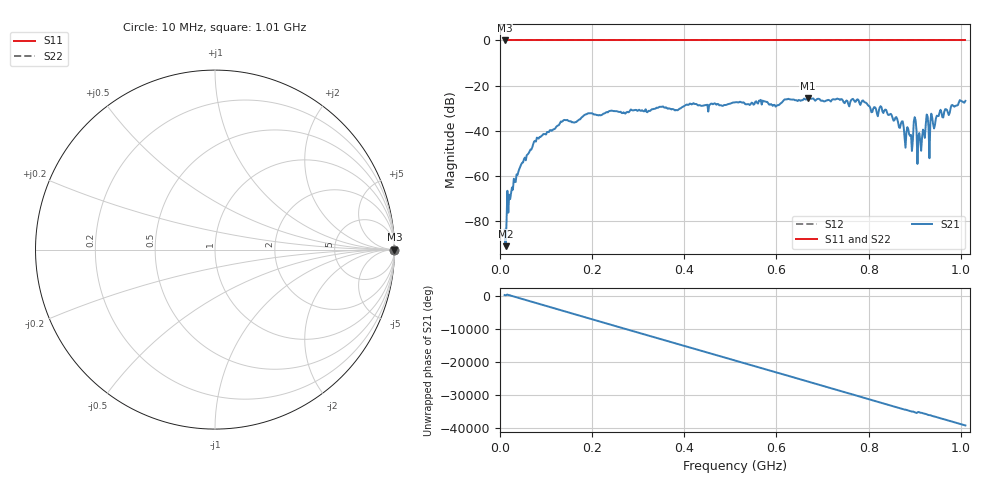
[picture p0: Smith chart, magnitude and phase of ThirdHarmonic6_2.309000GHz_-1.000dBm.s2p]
! 8/17/2025 3:11:40 AM
! C:\ANRITSUVNA\TEMP\TEMP.S2P
! CHANNEL.1
! TR.MEASUREMENT
! RAW.DATA
! RF.CORRECTION.OFF
! AVERAGING.OFF
! IF.BANDWIDTH: 5KHZ
! SWEEPTYPE:  FREQ.SWEEP(Linear)
! Reference Plane Port Info
! PORT:  PORT1  PORT2
! DISTANCE:  0  m  0  m
! TIME:  0  s  0  s
! PHASE.OFFSET:  0  deg.  0  deg.
! LOSS:  0  dB  0  dB
! REF.LOSS:  0  dB  0  dB
! REF.FREQ:  0  Hz  0  Hz
! Power Info
! POWER:  -20  dBm  -20  dBm
! EFF.POWER:  -20  dBm  -20  dBm
! SOURCE.ATTEN:  0  dB  0  dB
! TEST.ATTEN:  0  dB  0  dB
# GHZ S RI R 50.0
! FREQ.GHZ  S11RE  S11IM  S21RE  S21IM  S12RE  S12IM  S22RE  S22IM
!; PortSelection: Port_12
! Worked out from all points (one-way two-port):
!   501 points, 10 MHz to 1.01 GHz, reference 50 ohm
!   highest |S21| = -25.62 dB at 668 MHz (marker M1); lowest = -91.0 dB at 12 MHz (marker M2)
!   lowest |S11| = 0.0 dB at 10 MHz (marker M3)
!   |S11| at or under -10 dB: nowhere
!   |S22| runs from 0.0 to 0.0 dB; largest |S21 - S12| = 1.1
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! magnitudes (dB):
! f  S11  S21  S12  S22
! 10 MHz  0.0  -83.8  0.0  0.0
! 12 MHz  0.0  -91.0  0.0  0.0
! 40 MHz  0.0  -58.0  0.0  0.0
! 78 MHz  0.0  -44.7  0.0  0.0
! 136 MHz  0.0  -35.7  0.0  0.0
! 178 MHz  0.0  -33.9  0.0  0.0
! 344 MHz  0.0  -29.6  0.0  0.0
! 510 MHz  0.0  -27.4  0.0  0.0
! 602 MHz  0.0  -28.6  0.0  0.0
! 668 MHz  0.0  -25.6  0.0  0.0
! 678 MHz  0.0  -25.7  0.0  0.0
! 790 MHz  0.0  -27.2  0.0  0.0
! 844 MHz  0.0  -33.0  0.0  0.0
! 880 MHz  0.0  -47.5  0.0  0.0
! 888 MHz  0.0  -41.5  0.0  0.0
! 892 MHz  0.0  -41.8  0.0  0.0
! 900 MHz  0.0  -33.9  0.0  0.0
! 910 MHz  0.0  -41.0  0.0  0.0
! 926 MHz  0.0  -32.8  0.0  0.0
! 936 MHz  0.0  -32.4  0.0  0.0
! 952 MHz  0.0  -33.4  0.0  0.0
! 1.01 GHz  0.0  -26.7  0.0  0.0
